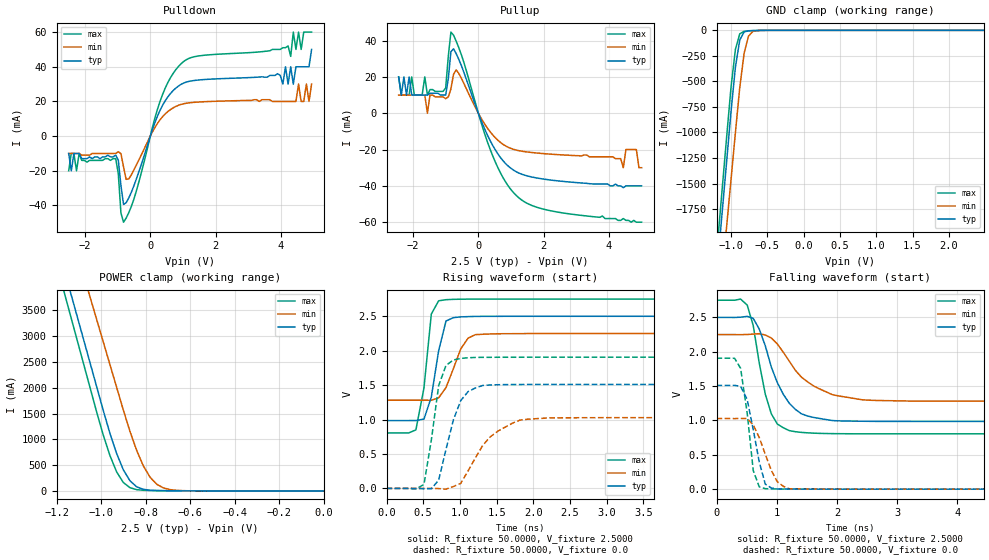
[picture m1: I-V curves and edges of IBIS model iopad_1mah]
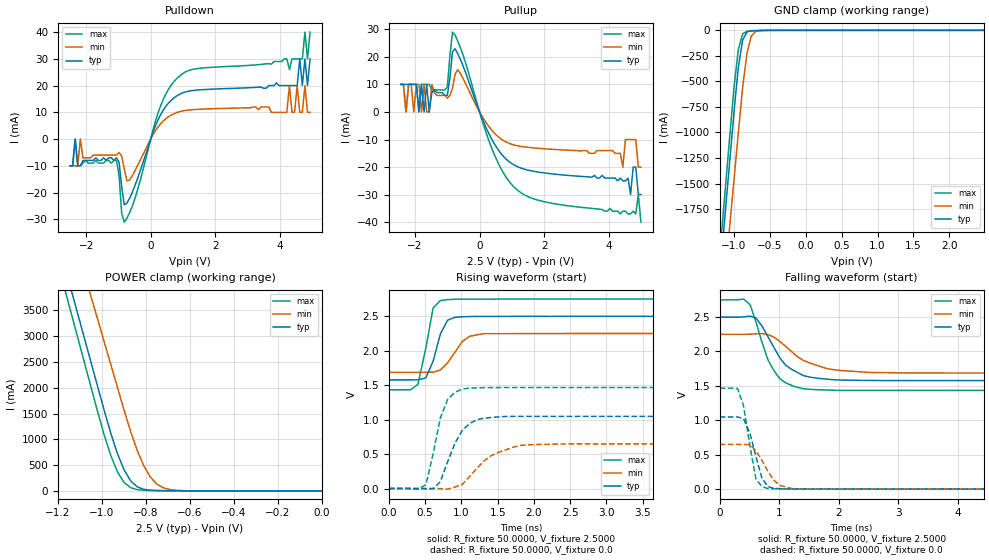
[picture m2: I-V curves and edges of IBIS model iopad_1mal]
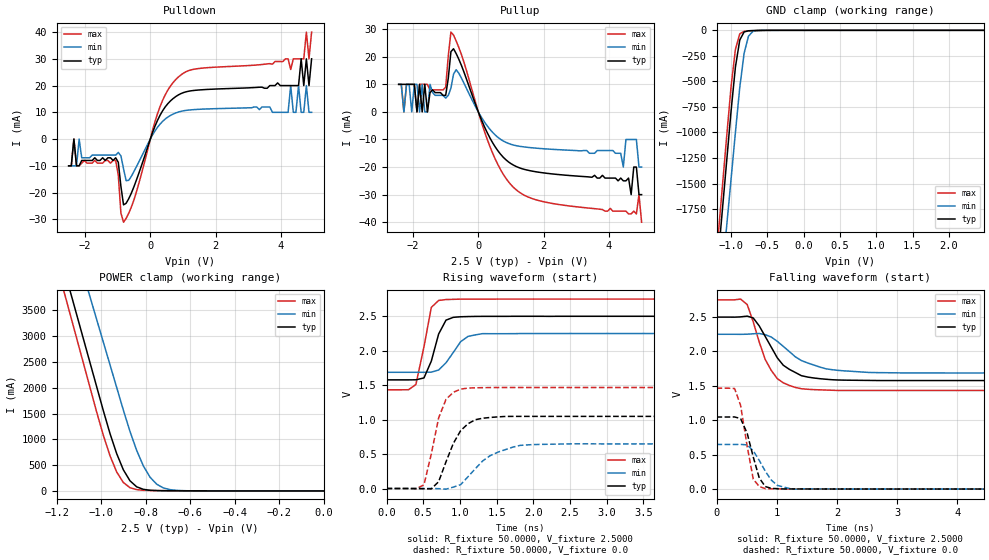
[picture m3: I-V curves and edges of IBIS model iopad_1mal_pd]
| IBIS file ip1001_25.ibs created by s2ibis3 verion 1.1
| North Carolina State University, ERL, 2006
[IBIS ver] 3.2
[File name] ip1001_25.ibs
[File Rev] 1.0
[Date]  2007 2 5
[Source] From IC Plus Inc.
[Notes]  File created by chang_dy.
[Disclaimer]  IC PLUS Corp. ("IC+") hereby grants the user of this
   IBIS model a non-exclusive, nontransferable license to use
   this IBIS model under the following terms. The user is granted
   this license only to use the IBIS model and is not granted
   rights to sell, copy (except as needed to run the IBIS model),
   rent, lease or sub-license the IBIS model in whole or in part,
   or in modified form to anyone. The User may modify the IBIS
   model to suit its specific applications, but rights to derivative
   works and such modifications shall belong to IC+. This
   IBIS model is provided on an AS IS" basis and IC+ makes absolutely
   no warranty with respect to the information contained
   herein. IC+ DISCLAIMS AND CUSTOMER WAIVES ALL WARRANTIES, EXPRESS
   AND IMPLIED, INCLUDING WARRANTIES OF MERCHANTABILITY AND
   FITNESS FOR A PARTICULAR PURPOSE. THE ENTIRE RISK AS TO QUALITY
   AND PERFORMANCE IS WITH THE USER ACCORDINGLY, IN NO EVENT
   SHALL IC+ BE LIABLE FOR ANY DIRECT OR INDIRECT DAMAGES, WHETHER
   IN CONTRACT OR TORT, INCLUDING ANY LOST PROFITS OR OTHER
   INCIDENTAL, CONSEQUENTIAL, EXEMPLARY, OR PUNITIVE DAMAGES ARISING
   OUT OF THE USE OR APPLICATION OF THE IBIS model. Further,
   IC+ reserves the right to make changes without notice to any
   product herein to improve
[Copyright] Copyright 2005, IC PLUS, Corp. all rights
|   Component IP1001
[Component] IP1001
[Manufacturer] IC PLUS Corp.
[Package]
| variable   typ   min   max
R_pkg   0.1500   0.1425   0.1575
L_pkg   1.9000nH   1.8050nH   1.9950nH
C_pkg   0.3500pF   0.3300pF   0.3700pF
[Pin]  signal_name   model_name   R_pin   L_pin   C_pin
1	TXD4		iopad_1mal
2	TXD5		iopad_1mal
3	DVDD		NC
4	TXD6		iopad_1mal
5	TXD7		iopad_1mal
6	TX_ER		iopad_1mal
7	CRS		iopad_1mal_pd
8	COL		iopad_1mal_pd
9	VDDO		POWER
10	CLK_OUT		iopad_12ma
11	MDC		iopad_1mal
12	MDIO		iopad_1mal
13	LED0		iopad_si_4ma
14	LED1		iopad_si_4ma
15	LED2		iopad_si_4ma
16	CTRL21		NC
17	R_SET		NC
18	MDI0P		NC
19	MDI0M		NC
20	AVDD		NC
21	MDI1P		NC
22	MDI1M		NC
23	AVDD		NC
24	AVDDH		NC
25	CAP		NC
26	MDI2P		NC
27	MDI2M		NC
28	AVDD		NC
29	MDI3P		NC
30	MDI3M		NC
31	AVDD		NC
32	CTRL12D		NC
33	X1		NC
34	X2		NC
35	RESET_		NC
36	RGMII_N		iopad_1mal_pd
37	NC_TEST		iopad_1mal_pd
38	DVDD		NC
39	RX_CLK		iopad_12ma
40	RX_DV		iopad_12ma
41	RXD0		iopad_12ma
42	RXD1		iopad_12ma
43	VDDO		POWER
44	RXD2		iopad_12ma
45	RXD3		iopad_12ma
46	DVDD		NC
47	VDDO		POWER
48	RXD4		iopad_12ma
49	RXD5		iopad_12ma
50	RXD6		iopad_12ma
51	RXD7		iopad_12ma
52	VDDO		POWER
53	RX_ER		iopad_12ma
54	DVDD		NC
55	TX_CLK		iopad_1mah
56	VDDO		POWER
57	GTX_CLK		iopad_1mal
58	TX_EN		iopad_1mal
59	TXD0		iopad_1mal
60	TXD1		iopad_1mal
61	TXD2		iopad_1mal
62	TXD3		iopad_1mal
63	DVDD		NC
64	VDDO		POWER
| Models and submodels in the file (9): iopad_1mah (I/O), iopad_1mal (I/O), iopad_1mal_pd (I/O), iopad_2ma (I/O), iopad_4ma (I/O), iopad_8ma (I/O), iopad_12ma (I/O), iopad_si_4ma (I/O), iopad_si_8ma (I/O)
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|   Model iopad_1mah
[Model]  iopad_1mah
Model_type I/O
Polarity   Non-Inverting
Enable   Active-Low
Vinl =   0.8000V
Vinh =   1.8000V
Vmeas =  1.2500V
C_comp   0.3000pF   0.2400pF   0.3600pF
[Temperature Range]   27.0000   100.0000   0.0
[Voltage Range]   2.5000V   2.2500V   2.7500V
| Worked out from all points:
|   slope of the pulldown table from 0 to 0.375 V, typ, clamps not added: 21.1 ohm
|   slope of the pullup table from 0 to 0.375 V, typ, clamps not added: 24.1 ohm
|   GND clamp passes 1 mA (typ) near -0.63 V on its own axis
|   POWER clamp passes 1 mA (typ) near -0.57 V on its own axis
|   rising waveform, R_fixture 50.0000, V_fixture 2.5000: 20-80 % time 157ps typ, 217ps min, 132ps max; typ from 0.986 V to 2.5 V
|   rising waveform, R_fixture 50.0000, V_fixture 0.0: 20-80 % time 236ps typ, 422ps min, 160ps max; typ from 0 V to 1.51 V
|   falling waveform, R_fixture 50.0000, V_fixture 2.5000: 20-80 % time 415ps typ, 619ps min, 262ps max; typ from 2.5 V to 0.986 V
|   falling waveform, R_fixture 50.0000, V_fixture 0.0: 20-80 % time 207ps typ, 280ps min, 158ps max; typ from 1.51 V to 0 V
[Pulldown]
|Voltage   I(typ)   I(min)   I(max)
-2.5V     -10mA      -10mA      -20mA
-2.42V    -20mA      -10mA      -10mA
-1.06V    -11mA      -10mA      -13mA
-820mV    -39.41mA   -17.8mA    -49.66mA
-660mV    -35.69mA   -24.71mA   -44.19mA
300mV     14.95mA    9.453mA    20.13mA
940mV     29.83mA    18.27mA    41.7mA
4.22V     30mA       20mA       52mA
4.3V      40mA       20mA       46mA
4.38V     30mA       20mA       60mA
4.46V     40mA       20mA       50mA
4.94V     50mA       30mA       60mA
[Pullup]
|Voltage   I(typ)   I(min)   I(max)
-2.44V    20mA       10mA       20mA
-2.36V    10mA       10mA       10mA
-2.28V    20mA       10mA       10mA
-2.04V    10mA       10mA       20mA
-1.08V    10mA       9mA        12mA
-840mV    33.86mA    13.4mA     44.67mA
-680mV    32.84mA    23.86mA    39.73mA
360mV     -15.04mA   -10.2mA    -19.79mA
1.16V     -32.22mA   -20.31mA   -45.27mA
4.44V     -41mA      -30mA      -58mA
4.84V     -40mA      -20mA      -60mA
5V        -40mA      -30mA      -60mA
[GND_clamp]
|Voltage   I(typ)   I(min)   I(max)
-2.5V     -12.93A    -12.87A    -12.97A
-1.18V    -2.249A    -2.828A    -2.033A
-1.12V    -1.763A    -2.371A    -1.535A
-1.06V    -1.278A    -1.914A    -1.038A
-1V       -792.5mA   -1.458A    -553.9mA
-940mV    -360.7mA   -1.001A    -186.7mA
-880mV    -94.64mA   -559.3mA   -34.17mA
-820mV    -15.98mA   -224.8mA   -9.643mA
-760mV    -4.328mA   -57.1mA    -5.898mA
-700mV    -2.122mA   -10.8mA    -4.108mA
-640mV    -1.103mA   -2.066mA   -2.655mA
2.48V     17.28pA    560.9nA    -93.93pA
[POWER_clamp]
|Voltage   I(typ)   I(min)   I(max)
-2.49V    24.9A      24.89A     24.94A
-1.17V    4.361A     5.529A     3.923A
-1.14V    3.894A     5.089A     3.445A
-1.11V    3.427A     4.649A     2.967A
-1.05V    2.493A     3.769A     2.012A
-960mV    1.115A     2.449A     684.3mA
-900mV    410.3mA    1.569A     163.2mA
-870mV    195.4mA    1.152A     62.28mA
-810mV    30.55mA    484.8mA    12.48mA
-750mV    6.57mA     129.6mA    6.615mA
-630mV    1.841mA    4.742mA    3.357mA
0V        80.13pA    246.2pA    118.4pA
[Ramp]
| variable   typ   min   max
dV/dt_r  0.9060/0.2357n   0.6168/0.4130n   1.1436/0.1604n
dV/dt_f  0.9086/0.4154n   0.5814/0.6089n   1.1669/0.2625n
R_load = 50.0000
[Rising Waveform]
R_fixture= 50.0000
V_fixture= 2.5000
V_fixture_min= 2.2500
V_fixture_max= 2.7500
|time   V(typ)   V(min)   V(max)
0s        985.7mV    1.281V     805.3mV
400ps     986.1mV    1.281V     850.2mV
510ps     1.007V     1.281V     1.459V
610ps     1.326V     1.28V      2.532V
710ps     2.001V     1.316V     2.725V
810ps     2.431V     1.465V     2.741V
1.01ns    2.491V     2.024V     2.748V
1.11ns    2.495V     2.182V     2.749V
1.21ns    2.498V     2.233V     2.749V
10ns      2.5V       2.25V      2.75V
[Rising Waveform]
R_fixture= 50.0000
V_fixture= 0.0
V_fixture_min= 0.0
V_fixture_max= 0.0
|time   V(typ)   V(min)   V(max)
0s        0V         0V         0V
510ps     -3.399mV   -969.9nV   57.91mV
610ps     -5.018mV   186.7uV    698.5mV
710ps     119.8mV    -2.217mV   1.493V
810ps     566.6mV    -10.6mV    1.786V
1.01ns    1.274V     72.33mV    1.888V
1.11ns    1.405V     253.7mV    1.898V
1.41ns    1.502V     747mV      1.904V
1.92ns    1.51V      1.005V     1.906V
10ns      1.51V      1.028V     1.906V
[Falling Waveform]
R_fixture= 50.0000
V_fixture= 2.5000
V_fixture_min= 2.2500
V_fixture_max= 2.7500
|time   V(typ)   V(min)   V(max)
0s        2.5V       2.25V      2.75V
510ps     2.515V     2.251V     2.679V
610ps     2.486V     2.257V     2.381V
710ps     2.33V      2.263V     1.835V
810ps     2.088V     2.244V     1.384V
910ps     1.778V     2.2V       1.097V
1.21ns    1.25V      1.861V     852mV
1.62ns    1.043V     1.499V     815mV
2.42ns    988.7mV    1.301V     805.6mV
10ns      985.7mV    1.281V     805.2mV
[Falling Waveform]
R_fixture= 50.0000
V_fixture= 0.0
V_fixture_min= 0.0
V_fixture_max= 0.0
|time   V(typ)   V(min)   V(max)
0s        1.51V      1.028V     1.906V
300ps     1.511V     1.027V     1.905V
400ps     1.497V     1.03V      1.759V
510ps     1.304V     1.027V     1.103V
610ps     867.6mV    935.8mV    271.7mV
710ps     394.8mV    750.7mV    33.3mV
810ps     74.26mV    509mV      7.485mV
1.01ns    3.362mV    108.5mV    2.387mV
1.21ns    2.044mV    5.161mV    909.7uV
10ns      0V         -1.966uV   1.278uV
|   Model iopad_1mal
[Model]  iopad_1mal
Model_type I/O
Polarity   Non-Inverting
Enable   Active-Low
Vinl =   0.8000V
Vinh =   1.8000V
Vmeas =  1.2500V
C_comp   0.3000pF   0.2400pF   0.3600pF
[Temperature Range]   27.0000   100.0000   0.0
[Voltage Range]   2.5000V   2.2500V   2.7500V
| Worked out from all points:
|   slope of the pulldown table from 0 to 0.375 V, typ, clamps not added: 35.5 ohm
|   slope of the pullup table from 0 to 0.375 V, typ, clamps not added: 38 ohm
|   GND clamp passes 1 mA (typ) near -0.63 V on its own axis
|   POWER clamp passes 1 mA (typ) near -0.57 V on its own axis
|   rising waveform, R_fixture 50.0000, V_fixture 2.5000: 20-80 % time 172ps typ, 231ps min, 148ps max; typ from 1.58 V to 2.5 V
|   rising waveform, R_fixture 50.0000, V_fixture 0.0: 20-80 % time 260ps typ, 424ps min, 202ps max; typ from 0 V to 1.05 V
|   falling waveform, R_fixture 50.0000, V_fixture 2.5000: 20-80 % time 427ps typ, 605ps min, 346ps max; typ from 2.5 V to 1.58 V
|   falling waveform, R_fixture 50.0000, V_fixture 0.0: 20-80 % time 199ps typ, 273ps min, 171ps max; typ from 1.05 V to 0 V
[Pulldown]
|Voltage   I(typ)   I(min)   I(max)
-2.5V     -10mA      -10mA      -10mA
-2.34V    0A         -10mA      0A
-2.26V    -10mA      -10mA      -10mA
-2.18V    -10mA      0A         -10mA
-1.06V    -7mA       -6mA       -8mA
-820mV    -24.6mA    -11.1mA    -31.09mA
780mV     15.9mA     9.775mA    22.27mA
4.22V     20mA       10mA       30mA
4.3V      20mA       20mA       26mA
4.38V     20mA       10mA       30mA
4.54V     20mA       20mA       30mA
4.94V     30mA       10mA       40mA
[Pullup]
|Voltage   I(typ)   I(min)   I(max)
-2.44V    10mA       10mA       10mA
-2.28V    10mA       0A         0A
-2.2V     10mA       10mA       10mA
-2.04V    10mA       0A         10mA
-1.08V    6mA        6mA        8mA
-840mV    21.86mA    8.6mA      28.98mA
1.08V     -19.31mA   -12.02mA   -27.38mA
4.44V     -25mA      -20mA      -36mA
4.68V     -30mA      -10mA      -37mA
4.84V     -20mA      -10mA      -37mA
4.92V     -30mA      -20mA      -30mA
5V        -30mA      -20mA      -40mA
[GND_clamp]
|Voltage   I(typ)   I(min)   I(max)
-2.5V     -12.93A    -12.87A    -12.97A
-1.18V    -2.249A    -2.828A    -2.033A
-1.12V    -1.763A    -2.371A    -1.535A
-1.06V    -1.278A    -1.914A    -1.038A
-1V       -792.5mA   -1.458A    -553.9mA
-940mV    -360.7mA   -1.001A    -186.7mA
-880mV    -94.64mA   -559.3mA   -34.17mA
-820mV    -15.98mA   -224.8mA   -9.643mA
-760mV    -4.328mA   -57.1mA    -5.898mA
-700mV    -2.122mA   -10.8mA    -4.108mA
-640mV    -1.103mA   -2.066mA   -2.655mA
2.48V     17.28pA    560.9nA    -93.93pA
[POWER_clamp]
|Voltage   I(typ)   I(min)   I(max)
-2.49V    24.9A      24.89A     24.94A
-1.17V    4.361A     5.529A     3.923A
-1.14V    3.894A     5.089A     3.445A
-1.11V    3.427A     4.649A     2.967A
-1.05V    2.493A     3.769A     2.012A
-960mV    1.115A     2.449A     684.3mA
-900mV    410.3mA    1.569A     163.2mA
-870mV    195.4mA    1.152A     62.28mA
-810mV    30.55mA    484.8mA    12.48mA
-750mV    6.57mA     129.6mA    6.615mA
-630mV    1.841mA    4.742mA    3.357mA
0V        80.13pA    246.2pA    118.4pA
[Ramp]
| variable   typ   min   max
dV/dt_r  0.6282/0.2603n   0.3887/0.4162n   0.8796/0.2017n
dV/dt_f  0.5538/0.4273n   0.3378/0.5950n   0.7902/0.3457n
R_load = 50.0000
[Rising Waveform]
R_fixture= 50.0000
V_fixture= 2.5000
V_fixture_min= 2.2500
V_fixture_max= 2.7500
|time   V(typ)   V(min)   V(max)
0s        1.577V     1.687V     1.433V
300ps     1.577V     1.687V     1.434V
400ps     1.578V     1.687V     1.51V
510ps     1.605V     1.687V     2.038V
610ps     1.849V     1.689V     2.622V
710ps     2.243V     1.72V      2.729V
810ps     2.444V     1.825V     2.742V
1.01ns    2.493V     2.132V     2.748V
1.31ns    2.499V     2.248V     2.749V
10ns      2.5V       2.25V      2.75V
[Rising Waveform]
R_fixture= 50.0000
V_fixture= 0.0
V_fixture_min= 0.0
V_fixture_max= 0.0
|time   V(typ)   V(min)   V(max)
0s        0V         0V         0V
510ps     -3.186mV   -581.4nV   53.93mV
610ps     -5.297mV   157.2uV    502.6mV
710ps     99.64mV    -2.173mV   1.026V
810ps     387.7mV    -9.572mV   1.293V
1.01ns    840.6mV    56.28mV    1.443V
1.11ns    940.3mV    171mV      1.458V
1.41ns    1.031V     475.8mV    1.465V
1.92ns    1.047V     633.5mV    1.466V
10ns      1.047V     647.9mV    1.466V
[Falling Waveform]
R_fixture= 50.0000
V_fixture= 2.5000
V_fixture_min= 2.2500
V_fixture_max= 2.7500
|time   V(typ)   V(min)   V(max)
0s        2.5V       2.25V      2.75V
400ps     2.503V     2.249V     2.762V
510ps     2.514V     2.251V     2.682V
610ps     2.487V     2.257V     2.43V
810ps     2.217V     2.244V     1.882V
910ps     2.062V     2.21V      1.724V
1.11ns    1.799V     2.073V     1.544V
1.41ns    1.648V     1.868V     1.458V
2.53ns    1.579V     1.695V     1.433V
10ns      1.577V     1.687V     1.433V
[Falling Waveform]
R_fixture= 50.0000
V_fixture= 0.0
V_fixture_min= 0.0
V_fixture_max= 0.0
|time   V(typ)   V(min)   V(max)
0s        1.047V     647.9mV    1.466V
300ps     1.048V     647.8mV    1.461V
400ps     1.024V     649.1mV    1.216V
510ps     808.5mV    641.2mV    618.2mV
610ps     466.1mV    556.1mV    144.1mV
710ps     160.7mV    415.8mV    36.34mV
810ps     36.05mV    259.1mV    5.512mV
1.01ns    5.141mV    52.62mV    2.303mV
1.31ns    930.4uV    -2.187mV   397uV
10ns      -6.76uV    2.426uV    0V
|   Model iopad_1mal_pd
[Model]  iopad_1mal_pd
Model_type I/O
Polarity   Non-Inverting
Enable   Active-Low
Vinl =   0.8000V
Vinh =   1.8000V
Vmeas =  1.2500V
C_comp   0.3000pF   0.2400pF   0.3600pF
[Temperature Range]   27.0000   100.0000   0.0
[Voltage Range]   2.5000V   2.2500V   2.7500V
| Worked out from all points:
|   slope of the pulldown table from 0 to 0.375 V, typ, clamps not added: 35.5 ohm
|   slope of the pullup table from 0 to 0.375 V, typ, clamps not added: 38 ohm
|   GND clamp passes 1 mA (typ) near -0.63 V on its own axis
|   POWER clamp passes 1 mA (typ) near -0.57 V on its own axis
|   rising waveform, R_fixture 50.0000, V_fixture 2.5000: 20-80 % time 172ps typ, 231ps min, 148ps max; typ from 1.58 V to 2.5 V
|   rising waveform, R_fixture 50.0000, V_fixture 0.0: 20-80 % time 260ps typ, 424ps min, 202ps max; typ from 0 V to 1.05 V
|   falling waveform, R_fixture 50.0000, V_fixture 2.5000: 20-80 % time 427ps typ, 605ps min, 346ps max; typ from 2.5 V to 1.58 V
|   falling waveform, R_fixture 50.0000, V_fixture 0.0: 20-80 % time 199ps typ, 273ps min, 171ps max; typ from 1.05 V to 0 V
[Pulldown]
|Voltage   I(typ)   I(min)   I(max)
-2.5V     -10mA      -10mA      -10mA
-2.34V    0A         -10mA      0A
-2.26V    -10mA      -10mA      -10mA
-2.18V    -10mA      0A         -10mA
-1.06V    -7mA       -6mA       -8mA
-820mV    -24.6mA    -11.1mA    -31.08mA
780mV     15.89mA    9.769mA    22.25mA
4.22V     20mA       10mA       30mA
4.3V      20mA       20mA       26mA
4.38V     20mA       10mA       30mA
4.54V     20mA       20mA       30mA
4.94V     30mA       10mA       40mA
[Pullup]
|Voltage   I(typ)   I(min)   I(max)
-2.44V    10mA       10mA       10mA
-2.28V    10mA       0A         0A
-2.2V     10mA       10mA       10mA
-2.04V    10mA       0A         10mA
-1.08V    6mA        6mA        8mA
-840mV    21.85mA    8.6mA      28.96mA
1.08V     -19.33mA   -12.03mA   -27.41mA
4.44V     -25mA      -20mA      -36mA
4.68V     -30mA      -10mA      -37mA
4.84V     -20mA      -10mA      -37mA
4.92V     -30mA      -20mA      -30mA
5V        -30mA      -20mA      -40mA
[GND_clamp]
|Voltage   I(typ)   I(min)   I(max)
-2.5V     -12.93A    -12.87A    -12.97A
-1.18V    -2.249A    -2.828A    -2.033A
-1.12V    -1.763A    -2.371A    -1.535A
-1.06V    -1.278A    -1.914A    -1.038A
-1V       -792.5mA   -1.458A    -553.9mA
-940mV    -360.7mA   -1.001A    -186.7mA
-880mV    -94.65mA   -559.3mA   -34.17mA
-820mV    -15.98mA   -224.8mA   -9.647mA
-760mV    -4.332mA   -57.1mA    -5.902mA
-700mV    -2.127mA   -10.8mA    -4.112mA
-640mV    -1.109mA   -2.069mA   -2.661mA
2.48V     16.57uA    8.447uA    28.04uA
[POWER_clamp]
|Voltage   I(typ)   I(min)   I(max)
-2.49V    24.9A      24.89A     24.94A
-1.17V    4.361A     5.529A     3.923A
-1.14V    3.894A     5.089A     3.445A
-1.11V    3.427A     4.649A     2.967A
-1.05V    2.493A     3.769A     2.012A
-960mV    1.115A     2.449A     684.3mA
-900mV    410.3mA    1.569A     163.2mA
-870mV    195.4mA    1.152A     62.29mA
-810mV    30.56mA    484.8mA    12.5mA
-750mV    6.583mA    129.6mA    6.642mA
-630mV    1.857mA    4.748mA    3.385mA
0V        16.57uA    7.883uA    28.06uA
[Ramp]
| variable   typ   min   max
dV/dt_r  0.6282/0.2603n   0.3887/0.4162n   0.8796/0.2017n
dV/dt_f  0.5538/0.4273n   0.3378/0.5950n   0.7902/0.3457n
R_load = 50.0000
[Rising Waveform]
R_fixture= 50.0000
V_fixture= 2.5000
V_fixture_min= 2.2500
V_fixture_max= 2.7500
|time   V(typ)   V(min)   V(max)
0s        1.577V     1.687V     1.433V
300ps     1.577V     1.687V     1.434V
400ps     1.578V     1.687V     1.51V
510ps     1.605V     1.687V     2.057V
610ps     1.849V     1.689V     2.629V
710ps     2.243V     1.72V      2.73V
810ps     2.444V     1.825V     2.743V
1.01ns    2.493V     2.132V     2.749V
1.31ns    2.499V     2.248V     2.749V
10ns      2.5V       2.25V      2.75V
[Rising Waveform]
R_fixture= 50.0000
V_fixture= 0.0
V_fixture_min= 0.0
V_fixture_max= 0.0
|time   V(typ)   V(min)   V(max)
0s        0V         0V         0V
510ps     -3.186mV   -581.4nV   53.93mV
610ps     -5.297mV   157.2uV    502.6mV
710ps     99.64mV    -2.173mV   1.026V
810ps     387.7mV    -9.572mV   1.293V
1.01ns    840.6mV    56.28mV    1.443V
1.11ns    940.3mV    171mV      1.458V
1.41ns    1.031V     475.8mV    1.465V
1.92ns    1.047V     633.5mV    1.466V
10ns      1.047V     647.9mV    1.466V
[Falling Waveform]
R_fixture= 50.0000
V_fixture= 2.5000
V_fixture_min= 2.2500
V_fixture_max= 2.7500
|time   V(typ)   V(min)   V(max)
0s        2.5V       2.25V      2.75V
400ps     2.503V     2.249V     2.762V
510ps     2.514V     2.251V     2.682V
610ps     2.487V     2.257V     2.43V
810ps     2.217V     2.244V     1.882V
910ps     2.062V     2.21V      1.724V
1.11ns    1.799V     2.073V     1.544V
1.41ns    1.648V     1.868V     1.458V
2.53ns    1.579V     1.695V     1.433V
10ns      1.577V     1.687V     1.433V
[Falling Waveform]
R_fixture= 50.0000
V_fixture= 0.0
V_fixture_min= 0.0
V_fixture_max= 0.0
|time   V(typ)   V(min)   V(max)
0s        1.047V     647.9mV    1.466V
300ps     1.048V     647.8mV    1.461V
400ps     1.024V     649.1mV    1.216V
510ps     808.5mV    641.2mV    618.2mV
610ps     466.1mV    556.1mV    144.1mV
710ps     160.7mV    415.8mV    36.34mV
810ps     36.05mV    259.1mV    5.512mV
1.01ns    5.141mV    52.62mV    2.303mV
1.31ns    930.4uV    -2.187mV   397uV
10ns      -6.758uV   2.426uV    0V
